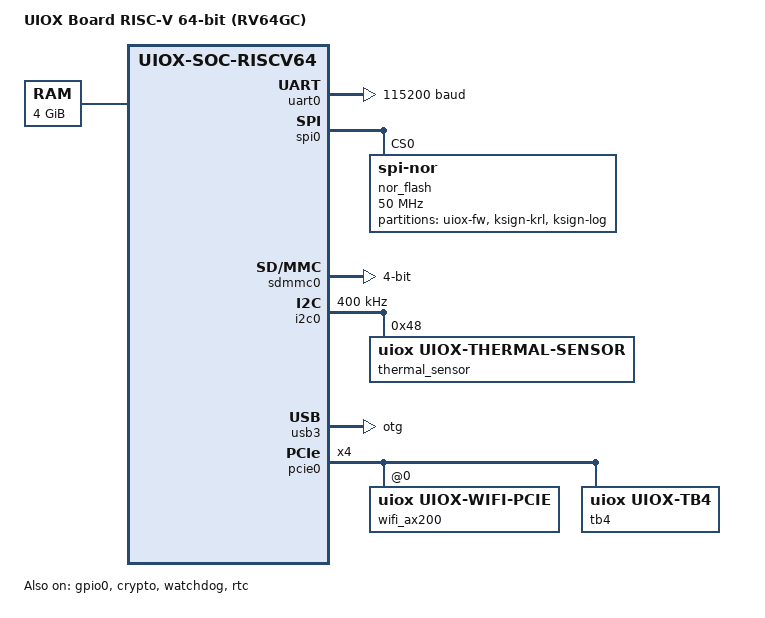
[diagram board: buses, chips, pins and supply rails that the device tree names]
/dts-v1/;

/*
 * UIOX Board — RISC-V 64-bit Device Tree Source
 * Target CPU  : RISC-V RV64GC (SV39/SV48 MMU, M/S/U privilege modes)
 * SoC         : UIOX-R1 (custom; RISC-V variant)
 * Interrupt   : PLIC + CLINT (uiox_cpu_hw.h: clint_base, plic_base)
 *
 * Cross-referenced from:
 *   50_UIX/20_uios/uiox-cpu/include/uiox_cpu_hw.h
 *   50_UIX/20_uios/usb_/usb.md
 *   50_UIX/12_ksign/include/uiox_ksign_image.h
 *   50_UIX/20_uios/uiox-cpu/include/uiox_cpu_pm.h
 *
 * Compile:
 *   dtc -I dts -O dtb -o uiox-riscv64.dtb uiox-riscv64.dts
 */

/ {
    #address-cells = <2>;
    #size-cells    = <2>;
    compatible     = "uiox,uiox-r1", "uiox,uiox-soc-riscv64";
    model          = "UIOX Board RISC-V 64-bit (RV64GC)";

    chosen {
        stdout-path     = "serial0:115200n8";
        bootargs        = "console=ttyUIX0,115200n8 root=/dev/mmcblk0p2 rw";
        riscv,isa       = "rv64imafdc";
        /* SV39/SV48 MMU — uiox_cpu_hw.h */
        uiox,mmu-type   = "sv39";
        uiox,kernel-load-addr  = <0x0 0x40080000>;
        uiox,kernel-entry-addr = <0x0 0x40080040>;
        uiox,ksign-enabled     = <1>;
    };

    memory@40000000 {
        device_type = "memory";
        reg = <0x0 0x40000000  0x1 0x00000000>;  /* 4 GiB */
    };

    reserved-memory {
        #address-cells = <2>;
        #size-cells    = <2>;
        ranges;

        mmode_reserved: mmode@40000000 {
            reg = <0x0 0x40000000  0x0 0x00080000>;
            no-map;
        };
        kernel_reserved: kernel@40080000 {
            reg = <0x0 0x40080000  0x0 0x00780000>;
            no-map;
        };
        dma_pool: dma_pool@4F000000 {
            compatible = "shared-dma-pool";
            reg = <0x0 0x4F000000  0x0 0x01000000>;
            reusable;
            linux,cma-default;
        };
    };

    /* -----------------------------------------------------------------
     * CPUs — 4× RV64GC harts
     *   uiox_cpu_hw.h: uiox_cpu_csr_read(mhartid), uiox_cpu_this_id()
     *   M/S/U privilege modes, RVV cap (UIOX_CPU_CAP_RVV)
     * -------------------------------------------------------------- */
    cpus {
        #address-cells = <1>;
        #size-cells    = <0>;
        timebase-frequency = <1000000>;  /* 1 MHz mtime reference */

        cpu0: cpu@0 {
            device_type    = "cpu";
            compatible     = "uiox,rv64gc", "riscv";
            reg            = <0>;
            riscv,isa      = "rv64imafdc";
            mmu-type       = "riscv,sv39";
            status         = "okay";
            operating-points-v2 = <&rv_opp>;
            cpu0_intc: interrupt-controller {
                #interrupt-cells = <1>;
                compatible       = "riscv,cpu-intc";
                interrupt-controller;
            };
        };
        cpu1: cpu@1 {
            device_type = "cpu"; compatible = "uiox,rv64gc", "riscv";
            reg = <1>; riscv,isa = "rv64imafdc"; mmu-type = "riscv,sv39";
            status = "okay"; operating-points-v2 = <&rv_opp>;
            cpu1_intc: interrupt-controller {
                #interrupt-cells = <1>; compatible = "riscv,cpu-intc";
                interrupt-controller;
            };
        };
        cpu2: cpu@2 {
            device_type = "cpu"; compatible = "uiox,rv64gc", "riscv";
            reg = <2>; riscv,isa = "rv64imafdc"; mmu-type = "riscv,sv39";
            status = "okay"; operating-points-v2 = <&rv_opp>;
            cpu2_intc: interrupt-controller {
                #interrupt-cells = <1>; compatible = "riscv,cpu-intc";
                interrupt-controller;
            };
        };
        cpu3: cpu@3 {
            device_type = "cpu"; compatible = "uiox,rv64gc", "riscv";
            reg = <3>; riscv,isa = "rv64imafdc"; mmu-type = "riscv,sv39";
            status = "okay"; operating-points-v2 = <&rv_opp>;
            cpu3_intc: interrupt-controller {
                #interrupt-cells = <1>; compatible = "riscv,cpu-intc";
                interrupt-controller;
            };
        };
    };

    rv_opp: opp-table {
        compatible = "operating-points-v2";
        opp-shared;
        opp-500000000  { opp-hz = /bits/ 64 <500000000>;  opp-microvolt = <900000>; };
        opp-1000000000 { opp-hz = /bits/ 64 <1000000000>; opp-microvolt = <1000000>; };
        opp-1500000000 { opp-hz = /bits/ 64 <1500000000>; opp-microvolt = <1050000>; };
        opp-2000000000 { opp-hz = /bits/ 64 <2000000000>; opp-microvolt = <1100000>; };
    };

    soc {
        compatible     = "simple-bus";
        #address-cells = <2>;
        #size-cells    = <2>;
        ranges;

        /* ---- CLINT — Core-Local Interruptor
         *   uiox_cpu_hw.h: clint_base field
         *   Provides mtime / mtimecmp for each hart
         * ---------------------------------------------------------- */
        clint: clint@2000000 {
            compatible    = "sifive,clint0", "riscv,clint0";
            reg           = <0x0 0x02000000  0x0 0x00010000>;
            interrupts-extended =
                <&cpu0_intc 3>, <&cpu0_intc 7>,
                <&cpu1_intc 3>, <&cpu1_intc 7>,
                <&cpu2_intc 3>, <&cpu2_intc 7>,
                <&cpu3_intc 3>, <&cpu3_intc 7>;
        };

        /* ---- PLIC — Platform-Level Interrupt Controller
         *   uiox_cpu_hw.h: gic_base used for PLIC on RV64
         *   64 interrupt sources, 4 harts × 2 contexts (M+S)
         * ---------------------------------------------------------- */
        plic: interrupt-controller@c000000 {
            compatible       = "sifive,plic-1.0.0", "riscv,plic0";
            reg              = <0x0 0x0C000000  0x0 0x04000000>;
            #interrupt-cells = <1>;
            interrupt-controller;
            riscv,ndev       = <64>;
            interrupts-extended =
                <&cpu0_intc 11>, <&cpu0_intc 9>,
                <&cpu1_intc 11>, <&cpu1_intc 9>,
                <&cpu2_intc 11>, <&cpu2_intc 9>,
                <&cpu3_intc 11>, <&cpu3_intc 9>;
        };

        /* ---- UART0 (SiFive UART / 16550 compatible) -------------- */
        uart0: serial@10010000 {
            compatible    = "uiox,uiox-uart", "sifive,uart0";
            reg           = <0x0 0x10010000  0x0 0x1000>;
            interrupt-parent = <&plic>;
            interrupts    = <4>;
            clocks        = <&periph_clk>;
            current-speed = <115200>;
            status        = "okay";
        };

        uart1: serial@10011000 {
            compatible = "uiox,uiox-uart", "sifive,uart0";
            reg        = <0x0 0x10011000  0x0 0x1000>;
            interrupt-parent = <&plic>;
            interrupts = <5>;
            clocks     = <&periph_clk>;
            status     = "disabled";
        };

        /* ---- Clocks ---------------------------------------------- */
        periph_clk: periph-clock {
            compatible    = "fixed-clock";
            #clock-cells  = <0>;
            clock-frequency = <125000000>;   /* 125 MHz */
        };

        bus_clk: bus-clock {
            compatible    = "fixed-clock";
            #clock-cells  = <0>;
            clock-frequency = <500000000>;   /* 500 MHz */
        };

        /* ---- SPI (Wi-Fi SPI / QSPI NOR Flash) -------------------- */
        spi0: spi@10040000 {
            compatible     = "uiox,uiox-spi", "sifive,spi0";
            reg            = <0x0 0x10040000  0x0 0x1000>;
            interrupt-parent = <&plic>;
            interrupts     = <51>;
            clocks         = <&periph_clk>;
            #address-cells = <1>;
            #size-cells    = <0>;
            num-cs         = <4>;
            status         = "okay";

            /* SPI NOR Flash (KRL + measurement log) */
            nor_flash: flash@0 {
                compatible     = "jedec,spi-nor";
                reg            = <0>;
                spi-max-frequency = <50000000>;
                spi-rx-bus-width  = <4>;
                #address-cells = <1>;
                #size-cells    = <1>;

                partitions {
                    compatible = "fixed-partitions";
                    #address-cells = <1>;
                    #size-cells    = <1>;
                    fw@0     { label="uiox-fw";   reg=<0x000000 0x080000>; read-only; };
                    krl@80000 { label="ksign-krl"; reg=<0x080000 0x010000>; };
                    mlog@90000 { label="ksign-log"; reg=<0x090000 0x010000>; };
                };
            };
        };

        /* ---- SDMMC (eMMC / SD storage + CYW43xx Wi-Fi SDIO) ----- */
        sdmmc0: mmc@10050000 {
            compatible   = "uiox,uiox-sdmmc", "sifive,fu540-c000-pdma";
            reg          = <0x0 0x10050000  0x0 0x10000>;
            interrupt-parent = <&plic>;
            interrupts   = <52>;
            clocks       = <&bus_clk>;
            bus-width    = <4>;
            cap-sd-highspeed;
            cap-sdio-irq;
            status       = "okay";
        };

        /* ---- I2C (Thermal sensor) --------------------------------- */
        i2c0: i2c@10060000 {
            compatible     = "uiox,uiox-i2c", "sifive,i2c0";
            reg            = <0x0 0x10060000  0x0 0x1000>;
            interrupt-parent = <&plic>;
            interrupts     = <53>;
            clocks         = <&periph_clk>;
            clock-frequency = <400000>;
            #address-cells = <1>;
            #size-cells    = <0>;
            status         = "okay";

            thermal_sensor: temp@48 {
                compatible = "uiox,uiox-thermal-sensor";
                reg        = <0x48>;
                #thermal-sensor-cells = <0>;
            };
        };

        /* ---- GPIO ------------------------------------------------- */
        gpio0: gpio@10070000 {
            compatible       = "uiox,uiox-gpio", "sifive,gpio0";
            reg              = <0x0 0x10070000  0x0 0x1000>;
            interrupt-parent = <&plic>;
            interrupts       = <7>, <8>, <9>, <10>, <11>, <12>, <13>, <14>,
                               <15>, <16>, <17>, <18>, <19>, <20>, <21>, <22>;
            gpio-controller;
            #gpio-cells      = <2>;
            interrupt-controller;
            #interrupt-cells = <2>;
            ngpios           = <16>;
            status           = "okay";
        };

        /* ---- USB 3.0 xHCI (usb_/ subsystem — FS/HS/SS, OTG) ----- */
        usb3: usb@10100000 {
            compatible   = "uiox,uiox-usb3", "generic-xhci";
            reg          = <0x0 0x10100000  0x0 0x10000>;
            interrupt-parent = <&plic>;
            interrupts   = <54>;
            dr_mode      = "otg";
            maximum-speed = "super-speed";
            status       = "okay";
        };

        /* ---- PCIe (Intel AX200 Wi-Fi + Thunderbolt 4) ------------ */
        pcie0: pcie@30000000 {
            compatible      = "uiox,uiox-pcie", "sifive,fu740-pcie";
            reg             = <0x0 0x30000000  0x0 0x10000000>;
            #address-cells  = <3>;
            #size-cells     = <2>;
            ranges =
                <0x81000000 0x0 0x60000000  0x0 0x60000000  0x0 0x01000000>,
                <0x82000000 0x0 0x61000000  0x0 0x61000000  0x0 0x1F000000>;
            bus-range       = <0x0 0xFF>;
            num-lanes       = <4>;
            max-link-speed  = <3>;
            interrupt-parent = <&plic>;
            interrupts      = <56>, <57>;
            interrupt-names = "msi", "inta";
            status          = "okay";

            wifi_ax200: wifi@0,0 {
                compatible = "uiox,uiox-wifi-pcie", "intel,iwlwifi";
                reg        = <0 0 0 0 0>;
            };
            tb4: thunderbolt@1,0 {
                compatible = "uiox,uiox-tb4";
                reg        = <0x800 0 0 0 0>;
            };
        };

        /* ---- UIOX Crypto / ksign hardware accelerator ------------ */
        crypto: crypto@10200000 {
            compatible   = "uiox,uiox-crypto";
            reg          = <0x0 0x10200000  0x0 0x10000>;
            interrupt-parent = <&plic>;
            interrupts   = <60>;
            uiox,ksign-hw-accel;
            status       = "okay";
        };

        /* ---- Watchdog --------------------------------------------- */
        watchdog: watchdog@10080000 {
            compatible  = "uiox,uiox-wdt", "sifive,wdog0";
            reg         = <0x0 0x10080000  0x0 0x1000>;
            interrupt-parent = <&plic>;
            interrupts  = <61>;
            timeout-sec = <30>;
            status      = "okay";
        };

        /* ---- RTC -------------------------------------------------- */
        rtc: rtc@10090000 {
            compatible = "uiox,uiox-rtc";
            reg        = <0x0 0x10090000  0x0 0x1000>;
            interrupt-parent = <&plic>;
            interrupts = <62>;
            status     = "okay";
        };
    };
};
